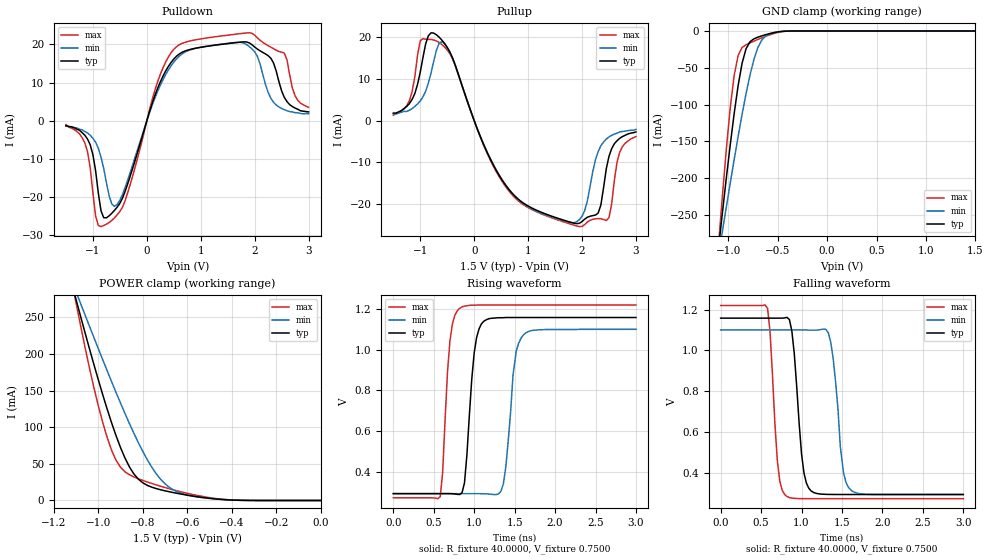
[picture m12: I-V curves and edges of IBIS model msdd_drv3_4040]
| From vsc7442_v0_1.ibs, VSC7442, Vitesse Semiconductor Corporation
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|   Model msdd_drv3_4040
[Model]  msdd_drv3_4040
Model_type I/O
Polarity   Non-Inverting
Enable   Active-High
Vinl =   0.5750V
Vinh =   0.9250V
Vmeas =  0.7500V
Cref =   0.0F
Rref =   40.0000
Vref =   0.7500V
C_comp   2.0000pF   1.8000pF   2.2000pF
[Temperature Range]   25.0000   0.1250k   -40.0000
[Pullup Reference]   1.5000V   1.4250V   1.5750V
[Pulldown Reference]   0.0V   0.0V   0.0V
[POWER Clamp Reference]   1.5000V   1.4250V   1.5750V
[GND Clamp Reference]   0.0V   0.0V   0.0V
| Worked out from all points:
|   slope of the pulldown table from 0 to 0.225 V, typ, clamps not added: 24.1 ohm
|   slope of the pullup table from 0 to 0.225 V, typ, clamps not added: 31.4 ohm
|   GND clamp passes 1 mA (typ) near -0.49 V on its own axis
|   POWER clamp passes 1 mA (typ) near -0.43 V on its own axis
|   rising waveform, R_fixture 40.0000, V_fixture 0.7500: 20-80 % time 94ps typ, 104ps min, 80ps max; typ from 0.292 V to 1.16 V
|   falling waveform, R_fixture 40.0000, V_fixture 0.7500: 20-80 % time 98.3ps typ, 106ps min, 80.9ps max; typ from 1.16 V to 0.292 V
[Pulldown]
|Voltage   I(typ)   I(min)   I(max)
-1.5V     -1.3mA     -1.4mA     -1mA
-1.05V    -6.3mA     -3.8mA     -12.4mA
-950mV    -13.1mA    -5.6mA     -24.93mA
-850mV    -23.58mA   -9.5mA     -27.7mA
-550mV    -22.61mA   -21.91mA   -24.62mA
250mV     10.16mA    9.274mA    12.13mA
600mV     17.45mA    16.87mA    19.87mA
1.95V     19.88mA    18.79mA    22.87mA
2.35V     15.1mA     4.8mA      18.85mA
2.6V      5mA        2.6mA      15.9mA
2.75V     3.3mA      2.1mA      6.5mA
3V        2.3mA      1.8mA      3.5mA
[Pullup]
|Voltage   I(typ)   I(min)   I(max)
-1.5V     1.8mA      1.6mA      1.3mA
-1.2V     4.1mA      2.5mA      4.8mA
-1V       11.6mA     4.7mA      19.1mA
-750mV    20.91mA    14.22mA    19.27mA
-500mV    17.5mA     17.48mA    16.87mA
600mV     -15.71mA   -15.68mA   -16.07mA
1.8V      -24.32mA   -24.37mA   -24.77mA
2.05V     -23.53mA   -21.49mA   -24.83mA
2.3V      -22.07mA   -7.4mA     -23.4mA
2.5V      -8.5mA     -3.9mA     -23.19mA
2.7V      -4.2mA     -2.7mA     -7.5mA
3V        -2.7mA     -2.1mA     -3.8mA
[GND_clamp]
|Voltage   I(typ)   I(min)   I(max)
-1.5V     -805.8mA   -649.9mA   -1.033A
-1.1V     -296.4mA   -306.2mA   -292.6mA
-1.06V    -247.5mA   -272.5mA   -224.4mA
-980mV    -154.2mA   -206.4mA   -104mA
-940mV    -111.5mA   -174.2mA   -59.73mA
-900mV    -73.64mA   -142.9mA   -32.82mA
-860mV    -43.43mA   -112.9mA   -22.35mA
-820mV    -23.88mA   -84.78mA   -18.6mA
-740mV    -10.55mA   -38.16mA   -13.7mA
-660mV    -6.518mA   -12.05mA   -9.15mA
-500mV    -1.199mA   -1.16mA    -1.904mA
1.5V      1.743nA    403.5nA    139.8pA
[POWER_clamp]
|Voltage   I(typ)   I(min)   I(max)
-1.5V     743.4mA    604.5mA    941.7mA
-1.1V     274.1mA    284.7mA    269.6mA
-1.08V    251.6mA    269mA      239mA
-1.02V    185.7mA    222.4mA    154.2mA
-940mV    105.7mA    161.9mA    68.37mA
-900mV    72.1mA     132.8mA    45.22mA
-860mV    45.8mA     104.9mA    35.06mA
-800mV    24.13mA    66.94mA    27.39mA
-720mV    14.64mA    28.98mA    19.45mA
-620mV    8.314mA    9.03mA     11.21mA
-400mV    592.3uA    795.4uA    672uA
0V        1.743nA    41.45nA    216.7pA
[Ramp]
| variable   typ   min   max
dV/dt_r  0.4374/0.1126n   0.4228/0.1349n   0.4583/0.1019n
dV/dt_f  0.4438/0.1446n   0.4309/0.1694n   0.4964/0.1233n
R_load = 40.0000
[Rising Waveform]
R_fixture= 40.0000
V_fixture= 0.7500
V_fixture_min= 0.7125
V_fixture_max= 0.7875
|time   V(typ)   V(min)   V(max)
0s        292.1mV    291.9mV    271.5mV
580ps     292.1mV    291.9mV    276.8mV
700ps     292.1mV    291.9mV    1.043V
820ps     287.7mV    291.9mV    1.204V
1ns       985.4mV    292mV      1.22V
1.12ns    1.141V     291.5mV    1.221V
1.36ns    1.158V     339.4mV    1.221V
1.52ns    1.159V     993.1mV    1.221V
1.61ns    1.159V     1.074V     1.221V
3ns       1.159V     1.101V     1.221V
[Falling Waveform]
R_fixture= 40.0000
V_fixture= 0.7500
V_fixture_min= 0.7125
V_fixture_max= 0.7875
|time   V(typ)   V(min)   V(max)
0s        1.159V     1.101V     1.221V
580ps     1.159V     1.101V     1.207V
700ps     1.159V     1.101V     461mV
820ps     1.163V     1.101V     282.3mV
1.03ns    397.7mV    1.101V     271.7mV
1.12ns    309.2mV    1.1V       271.6mV
1.36ns    292.4mV    1.043V     271.5mV
1.52ns    292.2mV    395.5mV    271.5mV
1.61ns    292.1mV    313.7mV    271.5mV
3ns       292.1mV    291.9mV    271.5mV
